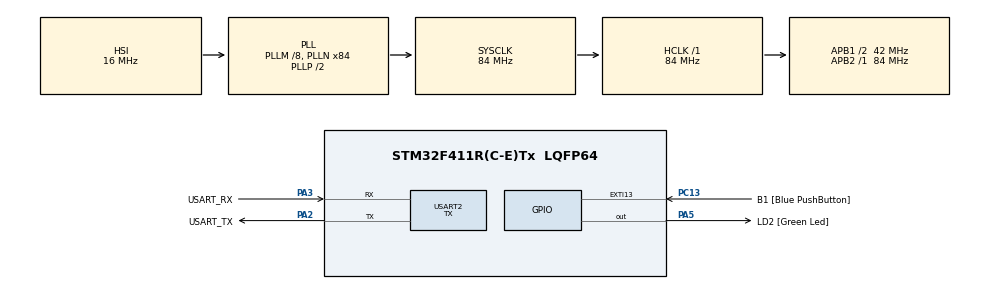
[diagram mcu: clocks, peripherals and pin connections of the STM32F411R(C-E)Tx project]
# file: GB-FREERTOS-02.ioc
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Dma.Request0=USART2_TX
Dma.USART2_TX.0.Direction=DMA_MEMORY_TO_PERIPH
Dma.USART2_TX.0.FIFOMode=DMA_FIFOMODE_ENABLE
Dma.USART2_TX.0.FIFOThreshold=DMA_FIFO_THRESHOLD_FULL
Dma.USART2_TX.0.Instance=DMA1_Stream6
Dma.USART2_TX.0.MemBurst=DMA_MBURST_INC4
Dma.USART2_TX.0.MemDataAlignment=DMA_MDATAALIGN_BYTE
Dma.USART2_TX.0.MemInc=DMA_MINC_ENABLE
Dma.USART2_TX.0.Mode=DMA_NORMAL
Dma.USART2_TX.0.PeriphBurst=DMA_PBURST_SINGLE
Dma.USART2_TX.0.PeriphDataAlignment=DMA_PDATAALIGN_BYTE
Dma.USART2_TX.0.PeriphInc=DMA_PINC_DISABLE
Dma.USART2_TX.0.Priority=DMA_PRIORITY_LOW
FREERTOS.Tasks01=serialPrint,0,256,StartSerialPrint,Default,NULL,Dynamic,NULL,NULL;counter1,-3,128,StartCounter1,Default,NULL,Dynamic,NULL,NULL;counter2,-2,128,StartCounter2,Default,NULL,Dynamic,NULL,NULL;counter3,1,128,StartCounter3,Default,NULL,Dynamic,NULL,NULL;counter4,3,128,StartCounter4,Default,NULL,Dynamic,NULL,NULL
FREERTOS.configENABLE_FPU=1
FREERTOS.configGENERATE_RUN_TIME_STATS=1
FREERTOS.configUSE_NEWLIB_REENTRANT=1
FREERTOS.configUSE_PREEMPTION=1
FREERTOS.configUSE_STATS_FORMATTING_FUNCTIONS=1
Mcu.Family=STM32F4
Mcu.Name=STM32F411R(C-E)Tx
Mcu.Package=LQFP64
NVIC.DMA1_Stream6_IRQn=true\:5\:0\:false\:false\:true\:true\:false\:true
NVIC.PriorityGroup=NVIC_PRIORITYGROUP_4
NVIC.TIM2_IRQn=true\:15\:0\:false\:false\:true\:false\:false\:true
NVIC.TimeBase=TIM2_IRQn
NVIC.TimeBaseIP=TIM2
NVIC.USART2_IRQn=true\:5\:0\:true\:false\:true\:true\:true\:true
PA13.GPIO_Label=TMS
PA13.Mode=Serial_Wire
PA13.Signal=SYS_JTMS-SWDIO
PA14.GPIO_Label=TCK
PA14.Mode=Serial_Wire
PA14.Signal=SYS_JTCK-SWCLK
PA2.GPIO_Label=USART_TX
PA2.Mode=Asynchronous
PA2.Signal=USART2_TX
PA3.GPIO_Label=USART_RX
PA3.Mode=Asynchronous
PA3.Signal=USART2_RX
PA5.GPIO_Label=LD2 [Green Led]
PA5.Signal=GPIO_Output
PB3.GPIO_Label=SWO
PB3.Signal=SYS_JTDO-SWO
PC13-ANTI_TAMP.GPIO_Label=B1 [Blue PushButton]
PC13-ANTI_TAMP.GPIO_ModeDefaultEXTI=GPIO_MODE_IT_FALLING
PC13-ANTI_TAMP.GPIO_PuPd=GPIO_PULLUP
PC13-ANTI_TAMP.Signal=GPXTI13
PC14-OSC32_IN.Mode=LSE-External-Oscillator
PC14-OSC32_IN.Signal=RCC_OSC32_IN
PC15-OSC32_OUT.Mode=LSE-External-Oscillator
PC15-OSC32_OUT.Signal=RCC_OSC32_OUT
PH0\ -\ OSC_IN.Mode=HSE-External-Clock-Source
PH0\ -\ OSC_IN.Signal=RCC_OSC_IN
PH1\ -\ OSC_OUT.Mode=HSE-External-Clock-Source
PH1\ -\ OSC_OUT.Signal=RCC_OSC_OUT
ProjectManager.HeapSize=0x400
ProjectManager.StackSize=0x800
ProjectManager.TargetToolchain=STM32CubeIDE
RCC.48MHZClocksFreq_Value=42000000
RCC.AHBFreq_Value=84000000
RCC.APB1CLKDivider=RCC_HCLK_DIV2
RCC.APB1Freq_Value=42000000
RCC.APB1TimFreq_Value=84000000
RCC.APB2Freq_Value=84000000
RCC.APB2TimFreq_Value=84000000
RCC.CortexFreq_Value=84000000
RCC.FLatency-AdvancedSettings=FLASH_LATENCY_2
RCC.HCLKFreq_Value=84000000
RCC.HSE_VALUE=8000000
RCC.HSI_VALUE=16000000
RCC.PLLM=8
RCC.PLLN=84
RCC.SYSCLKFreq_VALUE=84000000
RCC.SYSCLKSource=RCC_SYSCLKSOURCE_PLLCLK
RCC.VCOOutputFreq_Value=168000000
USART2.Mode=MODE_TX
USART2.VirtualMode=VM_ASYNC
VP_FREERTOS_VS_CMSIS_V1.Mode=CMSIS_V1
VP_SYS_VS_tim2.Mode=TIM2
board=NUCLEO-F411RE

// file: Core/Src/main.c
/* USER CODE BEGIN Header */
/**
 ******************************************************************************
 * @file           : main.c
 * @brief          : Main program body
 ******************************************************************************
 * @attention
 *
 * <h2><center>&copy; Copyright (c) 2021 STMicroelectronics.
 * All rights reserved.</center></h2>
 *
 * This software component is licensed by ST under BSD 3-Clause license,
 * the "License"; You may not use this file except in compliance with the
 * License. You may obtain a copy of the License at:
 *                        opensource.org/licenses/BSD-3-Clause
 *
 ******************************************************************************
 */
/* USER CODE END Header */
#include "main.h"
#include "cmsis_os.h"

/* USER CODE BEGIN Includes */
#include "stdio.h"
#include "string.h"
/* USER CODE END Includes */

/* USER CODE BEGIN PD */
#define MAX_ITERATION (10000)
/* USER CODE END PD */

UART_HandleTypeDef huart2;
DMA_HandleTypeDef hdma_usart2_tx;

osThreadId serialPrintHandle;
osThreadId counter1Handle;
osThreadId counter2Handle;
osThreadId counter3Handle;
osThreadId counter4Handle;
/* USER CODE BEGIN PV */
uint32_t counter1;
uint32_t counter2;
uint32_t counter3;
uint32_t counter4;
/* USER CODE END PV */

void SystemClock_Config(void);
static void MX_GPIO_Init(void);
static void MX_DMA_Init(void);
static void MX_USART2_UART_Init(void);
void StartSerialPrint(void const * argument);
void StartCounter1(void const * argument);
void StartCounter2(void const * argument);
void StartCounter3(void const * argument);
void StartCounter4(void const * argument);

int main(void)
{

  /* MCU Configuration--------------------------------------------------------*/

  /* Reset of all peripherals, Initializes the Flash interface and the Systick. */
  HAL_Init();

  /* Configure the system clock */
  SystemClock_Config();

  /* Initialize all configured peripherals */
  MX_GPIO_Init();
  MX_DMA_Init();
  MX_USART2_UART_Init();

  /* Create the thread(s) */
  /* definition and creation of serialPrint */
  osThreadDef(serialPrint, StartSerialPrint, osPriorityNormal, 0, 256);
  serialPrintHandle = osThreadCreate(osThread(serialPrint), NULL);

  /* definition and creation of counter1 */
  osThreadDef(counter1, StartCounter1, osPriorityIdle, 0, 128);
  counter1Handle = osThreadCreate(osThread(counter1), NULL);

  /* definition and creation of counter2 */
  osThreadDef(counter2, StartCounter2, osPriorityLow, 0, 128);
  counter2Handle = osThreadCreate(osThread(counter2), NULL);

  /* definition and creation of counter3 */
  osThreadDef(counter3, StartCounter3, osPriorityAboveNormal, 0, 128);
  counter3Handle = osThreadCreate(osThread(counter3), NULL);

  /* definition and creation of counter4 */
  osThreadDef(counter4, StartCounter4, osPriorityRealtime, 0, 128);
  counter4Handle = osThreadCreate(osThread(counter4), NULL);

  /* Start scheduler */
  osKernelStart();

  /* We should never get here as control is now taken by the scheduler */
  /* Infinite loop */
	while (1) {

	}
}

void SystemClock_Config(void)
{
  RCC_OscInitTypeDef RCC_OscInitStruct = {0};
  RCC_ClkInitTypeDef RCC_ClkInitStruct = {0};

  /** Configure the main internal regulator output voltage
  */
  __HAL_RCC_PWR_CLK_ENABLE();
  __HAL_PWR_VOLTAGESCALING_CONFIG(PWR_REGULATOR_VOLTAGE_SCALE1);
  /** Initializes the RCC Oscillators according to the specified parameters
  * in the RCC_OscInitTypeDef structure.
  */
  RCC_OscInitStruct.OscillatorType = RCC_OSCILLATORTYPE_HSI;
  RCC_OscInitStruct.HSIState = RCC_HSI_ON;
  RCC_OscInitStruct.HSICalibrationValue = RCC_HSICALIBRATION_DEFAULT;
  RCC_OscInitStruct.PLL.PLLState = RCC_PLL_ON;
  RCC_OscInitStruct.PLL.PLLSource = RCC_PLLSOURCE_HSI;
  RCC_OscInitStruct.PLL.PLLM = 8;
  RCC_OscInitStruct.PLL.PLLN = 84;
  RCC_OscInitStruct.PLL.PLLP = RCC_PLLP_DIV2;
  RCC_OscInitStruct.PLL.PLLQ = 4;
  if (HAL_RCC_OscConfig(&RCC_OscInitStruct) != HAL_OK)
  {
    Error_Handler();
  }
  /** Initializes the CPU, AHB and APB buses clocks
  */
  RCC_ClkInitStruct.ClockType = RCC_CLOCKTYPE_HCLK|RCC_CLOCKTYPE_SYSCLK
                              |RCC_CLOCKTYPE_PCLK1|RCC_CLOCKTYPE_PCLK2;
  RCC_ClkInitStruct.SYSCLKSource = RCC_SYSCLKSOURCE_PLLCLK;
  RCC_ClkInitStruct.AHBCLKDivider = RCC_SYSCLK_DIV1;
  RCC_ClkInitStruct.APB1CLKDivider = RCC_HCLK_DIV2;
  RCC_ClkInitStruct.APB2CLKDivider = RCC_HCLK_DIV1;

  if (HAL_RCC_ClockConfig(&RCC_ClkInitStruct, FLASH_LATENCY_2) != HAL_OK)
  {
    Error_Handler();
  }
}

static void MX_USART2_UART_Init(void)
{

  huart2.Instance = USART2;
  huart2.Init.BaudRate = 115200;
  huart2.Init.WordLength = UART_WORDLENGTH_8B;
  huart2.Init.StopBits = UART_STOPBITS_1;
  huart2.Init.Parity = UART_PARITY_NONE;
  huart2.Init.Mode = UART_MODE_TX;
  huart2.Init.HwFlowCtl = UART_HWCONTROL_NONE;
  huart2.Init.OverSampling = UART_OVERSAMPLING_16;
  if (HAL_UART_Init(&huart2) != HAL_OK)
  {
    Error_Handler();
  }

}

static void MX_DMA_Init(void)
{

  /* DMA controller clock enable */
  __HAL_RCC_DMA1_CLK_ENABLE();

  /* DMA interrupt init */
  /* DMA1_Stream6_IRQn interrupt configuration */
  HAL_NVIC_SetPriority(DMA1_Stream6_IRQn, 5, 0);
  HAL_NVIC_EnableIRQ(DMA1_Stream6_IRQn);

}

static void MX_GPIO_Init(void)
{
  GPIO_InitTypeDef GPIO_InitStruct = {0};

  /* GPIO Ports Clock Enable */
  __HAL_RCC_GPIOC_CLK_ENABLE();
  __HAL_RCC_GPIOH_CLK_ENABLE();
  __HAL_RCC_GPIOA_CLK_ENABLE();
  __HAL_RCC_GPIOB_CLK_ENABLE();

  /*Configure GPIO pin Output Level */
  HAL_GPIO_WritePin(LD2_GPIO_Port, LD2_Pin, GPIO_PIN_RESET);

  /*Configure GPIO pin : B1_Pin */
  GPIO_InitStruct.Pin = B1_Pin;
  GPIO_InitStruct.Mode = GPIO_MODE_IT_FALLING;
  GPIO_InitStruct.Pull = GPIO_PULLUP;
  HAL_GPIO_Init(B1_GPIO_Port, &GPIO_InitStruct);

  /*Configure GPIO pin : LD2_Pin */
  GPIO_InitStruct.Pin = LD2_Pin;
  GPIO_InitStruct.Mode = GPIO_MODE_OUTPUT_PP;
  GPIO_InitStruct.Pull = GPIO_NOPULL;
  GPIO_InitStruct.Speed = GPIO_SPEED_FREQ_LOW;
  HAL_GPIO_Init(LD2_GPIO_Port, &GPIO_InitStruct);

}

void StartSerialPrint(void const * argument)
{
  /* USER CODE BEGIN 5 */
	char buf[192] = { 0 };
	uint32_t time;
	/* Infinite loop */
	for (;;) {
		HAL_GPIO_WritePin(LD2_GPIO_Port, LD2_Pin, SET);
		time = xTaskGetTickCount() / 1000;
		sprintf(buf,
				"Time:                 %6lu sec\r\nTask1 (idle):         %6lu times\r\nTask2 (low):          %6lu times\r\nTask3 (above normal): %6lu times\r\nTask4 (realtime):     %6lu times\r\n\n",
				time, counter1, counter2, counter3, counter4);
		while (HAL_UART_GetState(&huart2) != HAL_UART_STATE_READY);
		HAL_UART_Transmit_DMA(&huart2, (uint8_t*) buf, strlen(buf));
		HAL_GPIO_WritePin(LD2_GPIO_Port, LD2_Pin, RESET);
		osDelay(1000);
	}
	vTaskDelete(NULL);
  /* USER CODE END 5 */
}

void StartCounter1(void const * argument)
{
  /* USER CODE BEGIN StartCounter1 */
	float n;
	/* Infinite loop */
	for (;;) {
		for (size_t i = 0; i < MAX_ITERATION; i++) {
//			__NOP();
			n = 22 / 7;
		}

		counter1++;
		osDelay(1);
	}
	vTaskDelete(NULL);
  /* USER CODE END StartCounter1 */
}

void StartCounter2(void const * argument)
{
  /* USER CODE BEGIN StartCounter2 */
	float n;
		/* Infinite loop */
		for (;;) {
			for (size_t i = 0; i < MAX_ITERATION; i++) {
	//			__NOP();
				n = 22 / 7;
			}

			counter2++;
			osDelay(1);
		}
	vTaskDelete(NULL);
  /* USER CODE END StartCounter2 */
}

void StartCounter3(void const * argument)
{
  /* USER CODE BEGIN StartCounter3 */
	float n;
		/* Infinite loop */
		for (;;) {
			for (size_t i = 0; i < MAX_ITERATION; i++) {
	//			__NOP();
				n = 22 / 7;
			}

			counter3++;
			osDelay(1);
		}
	vTaskDelete(NULL);
  /* USER CODE END StartCounter3 */
}

void StartCounter4(void const * argument)
{
  /* USER CODE BEGIN StartCounter4 */
	float n;
		/* Infinite loop */
		for (;;) {
			for (size_t i = 0; i < MAX_ITERATION; i++) {
	//			__NOP();
				n = 22 / 7;
			}

			counter4++;
			osDelay(1);
		}
	vTaskDelete(NULL);
  /* USER CODE END StartCounter4 */
}

void HAL_TIM_PeriodElapsedCallback(TIM_HandleTypeDef *htim)
{
  if (htim->Instance == TIM2) {
    HAL_IncTick();
  }
}

void Error_Handler(void)
{
	__disable_irq();
	while (1) {
	}
}

/************************ (C) COPYRIGHT STMicroelectronics *****END OF FILE****/
